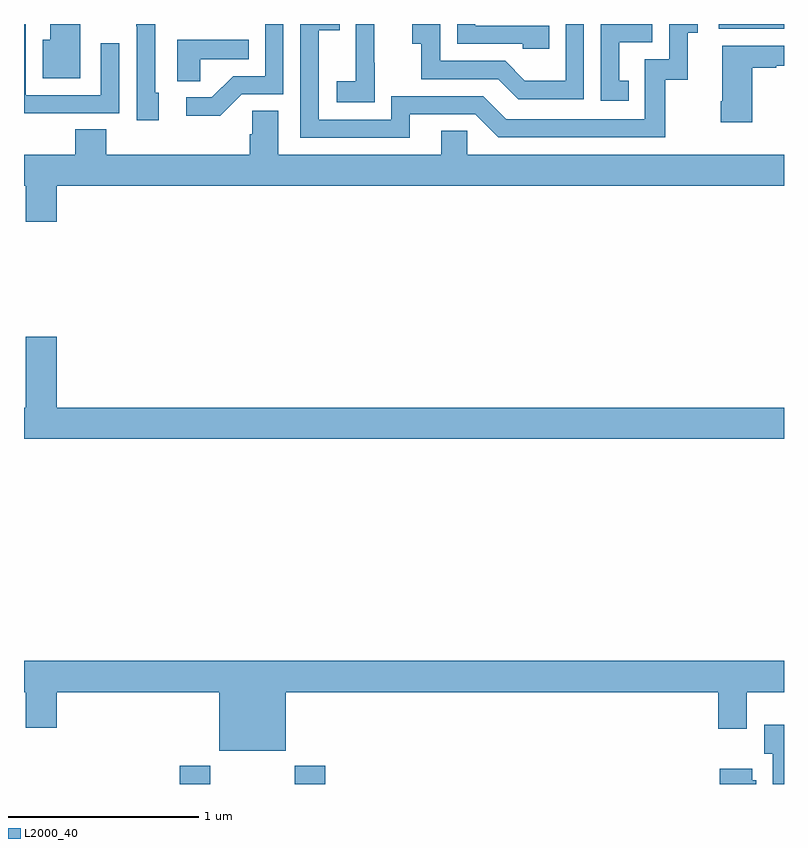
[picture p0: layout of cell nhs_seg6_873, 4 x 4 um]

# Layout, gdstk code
import gdstk
lib = gdstk.Library(unit=1e-6, precision=1e-09)
def R(c, l, rs):  # rectangles x0, y0, x1, y1
    for r in rs: c.add(gdstk.rectangle(r[:2], r[2:], *l))
def P(c, l, *ps):  # polygons
    for p in ps: c.add(gdstk.Polygon(p, *l))
L2000_40 = (2000, 40)

nhs_seg6_873 = lib.new_cell('nhs_seg6_873')
R(nhs_seg6_873, L2000_40, [(165.821,965.5,165.981,965.596), (166.426,965.5,166.586,965.596), (168.657,969.474,169,969.5)])
P(nhs_seg6_873, L2000_40, [(168.182,969.201),(168.133,969.201),(168.133,969.405),(168.306,969.405),(168.306,969.5),(168.036,969.5),(168.036,969.096),(168.182,969.096)],
  [(167.029,969.024),(167.376,969.024),(167.496,968.904),(168.376,968.904),(168.376,969.207),(168.494,969.207),(168.494,969.453),(168.547,969.453),(168.547,969.5),(168.396,969.5),(168.396,969.315),(168.267,969.315),(168.267,969),(167.538,969),(167.418,969.12),(166.932,969.12),(166.932,968.997),(166.551,968.997),(166.551,969.466),(166.661,969.466),(166.661,969.5),(166.455,969.5),(166.455,968.901),(167.029,968.901)],
  [(165.709,969.138),(165.69,969.138),(165.69,969.5),(165.592,969.5),(165.592,969.487),(165.594,969.487),(165.594,968.994),(165.709,968.994)],
  [(167.765,969.492),(167.376,969.492),(167.376,969.5),(167.28,969.5),(167.28,969.396),(167.625,969.396),(167.625,969.369),(167.765,969.369)],
  [(166.845,969.295),(166.844,969.295),(166.844,969.5),(166.746,969.5),(166.746,969.428),(166.745,969.428),(166.745,969.199),(166.647,969.199),(166.647,969.089),(166.845,969.089)],
  [(165.295,969.5),(165.137,969.5),(165.137,969.418),(165.098,969.418),(165.098,969.215),(165.295,969.215)],
  [(166.146,969.129),(166.365,969.129),(166.365,969.5),(166.269,969.5),(166.269,969.225),(166.1,969.225),(165.989,969.114),(165.855,969.114),(165.855,969.017),(166.033,969.017)],
  [(165.185,969.03),(165.501,969.03),(165.501,969.4),(165.405,969.4),(165.405,969.126),(165.009,969.126),(165.009,969.5),(165,969.5),(165,969.029),(165.185,969.029)],
  [(167.946,969.5),(167.85,969.5),(167.85,969.202),(167.636,969.202),(167.532,969.306),(167.19,969.306),(167.19,969.5),(167.043,969.5),(167.043,969.395),(167.092,969.395),(167.092,969.21),(167.495,969.21),(167.6,969.105),(167.946,969.105)],
  [(165.927,969.314),(166.184,969.314),(166.184,969.418),(165.806,969.418),(165.806,969.199),(165.927,969.199)],
  [(168.832,969.271),(168.959,969.271),(168.959,969.281),(169,969.281),(169,969.385),(168.674,969.385),(168.674,969.094),(168.667,969.094),(168.667,968.982),(168.832,968.982)],
  [(165.172,968.648),(169,968.648),(169,968.812),(167.334,968.812),(167.334,968.939),(167.195,968.939),(167.195,968.812),(166.339,968.812),(166.339,969.044),(166.2,969.044),(166.2,968.921),(166.187,968.921),(166.187,968.812),(165.434,968.812),(165.434,968.945),(165.269,968.945),(165.269,968.812),(165,968.812),(165,968.648),(165.008,968.648),(165.008,968.46),(165.172,968.46)],
  [(169,967.48),(165.172,967.48),(165.172,967.855),(165.008,967.855),(165.008,967.48),(165,967.48),(165,967.316),(169,967.316)],
  [(166.378,965.984),(168.653,965.984),(168.653,965.79),(168.805,965.79),(168.805,965.984),(169,965.984),(169,966.148),(165,966.148),(165,965.984),(165.008,965.984),(165.008,965.796),(165.172,965.796),(165.172,965.984),(166.028,965.984),(166.028,965.675),(166.378,965.675)],
  [(169,965.812),(168.896,965.812),(168.896,965.658),(168.941,965.658),(168.941,965.5),(169,965.5)],
  [(168.853,965.52),(168.832,965.52),(168.832,965.581),(168.662,965.581),(168.662,965.5),(168.853,965.5)])

lib.write_gds('nhs_seg6_873.gds')
